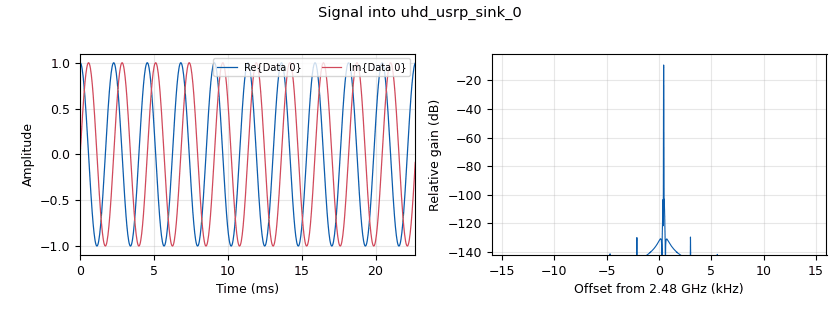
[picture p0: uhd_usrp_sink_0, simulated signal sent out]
<?xml version='1.0' encoding='utf-8'?>
<flow_graph>
<block>
<key>options</key>
<param><key>id</key><value>top_block</value></param>
<param><key>generate_options</key><value>wx_gui</value></param>
<param><key>category</key><value>Custom</value></param>
</block>
<block>
<key>variable</key>
<param><key>id</key><value>samp_rate</value></param>
<param><key>value</key><value>32000</value></param>
</block>
<block>
<key>blocks_complex_to_float</key>
<param><key>id</key><value>blocks_complex_to_float_0</value></param>
<param><key>_enabled</key><value>False</value></param>
</block>
<block>
<key>audio_sink</key>
<param><key>id</key><value>audio_sink_0</value></param>
<param><key>_enabled</key><value>False</value></param>
<param><key>samp_rate</key><value>samp_rate</value></param>
</block>
<block>
<key>blocks_multiply_const_vxx</key>
<param><key>id</key><value>blocks_multiply_const_vxx_0</value></param>
<param><key>_enabled</key><value>False</value></param>
<param><key>type</key><value>complex</value></param>
<param><key>const</key><value>5</value></param>
</block>
<block>
<key>wxgui_scopesink2</key>
<param><key>id</key><value>wxgui_scopesink2_0</value></param>
<param><key>_enabled</key><value>False</value></param>
<param><key>type</key><value>complex</value></param>
<param><key>title</key><value>Scope Plot</value></param>
<param><key>samp_rate</key><value>samp_rate</value></param>
<param><key>v_scale</key><value>0</value></param>
<param><key>v_offset</key><value>0</value></param>
<param><key>t_scale</key><value>0</value></param>
<param><key>ac_couple</key><value>False</value></param>
<param><key>xy_mode</key><value>False</value></param>
<param><key>num_inputs</key><value>1</value></param>
<param><key>trig_mode</key><value>wxgui.TRIG_MODE_AUTO</value></param>
<param><key>y_axis_label</key><value>Counts</value></param>
</block>
<block>
<key>uhd_usrp_source</key>
<param><key>id</key><value>uhd_usrp_source_0</value></param>
<param><key>_enabled</key><value>False</value></param>
<param><key>type</key><value>fc32</value></param>
<param><key>dev_args</key><value>""</value></param>
<param><key>sync</key><value></value></param>
<param><key>clock_rate</key><value>0.0</value></param>
<param><key>samp_rate</key><value>samp_rate</value></param>
<param><key>center_freq0</key><value>2.48e9</value></param>
<param><key>gain0</key><value>20</value></param>
<param><key>ant0</key><value>RX2</value></param>
</block>
<block>
<key>analog_sig_source_x</key>
<param><key>id</key><value>analog_sig_source_x_0</value></param>
<param><key>type</key><value>complex</value></param>
<param><key>samp_rate</key><value>samp_rate</value></param>
<param><key>waveform</key><value>analog.GR_COS_WAVE</value></param>
<param><key>freq</key><value>variable_slider_0</value></param>
<param><key>amp</key><value>1</value></param>
<param><key>offset</key><value>0</value></param>
</block>
<block>
<key>variable_slider</key>
<param><key>id</key><value>variable_slider_0</value></param>
<param><key>label</key><value></value></param>
<param><key>value</key><value>440</value></param>
<param><key>min</key><value>100</value></param>
<param><key>max</key><value>3000</value></param>
<param><key>num_steps</key><value>100</value></param>
<param><key>style</key><value>wx.SL_HORIZONTAL</value></param>
<param><key>converver</key><value>float_converter</value></param>
</block>
<block>
<key>uhd_usrp_sink</key>
<param><key>id</key><value>uhd_usrp_sink_0</value></param>
<param><key>type</key><value>fc32</value></param>
<param><key>dev_args</key><value>""</value></param>
<param><key>sync</key><value></value></param>
<param><key>clock_rate</key><value>0.0</value></param>
<param><key>samp_rate</key><value>samp_rate</value></param>
<param><key>center_freq0</key><value>2.48e9</value></param>
<param><key>gain0</key><value>20</value></param>
<param><key>ant0</key><value>TX/RX</value></param>
<param><key>len_tag_name</key><value></value></param>
</block>
<connection><source_block_id>blocks_complex_to_float_0</source_block_id><sink_block_id>audio_sink_0</sink_block_id><source_key>0</source_key><sink_key>0</sink_key></connection>
<connection><source_block_id>uhd_usrp_source_0</source_block_id><sink_block_id>blocks_multiply_const_vxx_0</sink_block_id><source_key>0</source_key><sink_key>0</sink_key></connection>
<connection><source_block_id>blocks_multiply_const_vxx_0</source_block_id><sink_block_id>blocks_complex_to_float_0</sink_block_id><source_key>0</source_key><sink_key>0</sink_key></connection>
<connection><source_block_id>blocks_multiply_const_vxx_0</source_block_id><sink_block_id>wxgui_scopesink2_0</sink_block_id><source_key>0</source_key><sink_key>0</sink_key></connection>
<connection><source_block_id>analog_sig_source_x_0</source_block_id><sink_block_id>uhd_usrp_sink_0</sink_block_id><source_key>0</source_key><sink_key>0</sink_key></connection>
</flow_graph>
